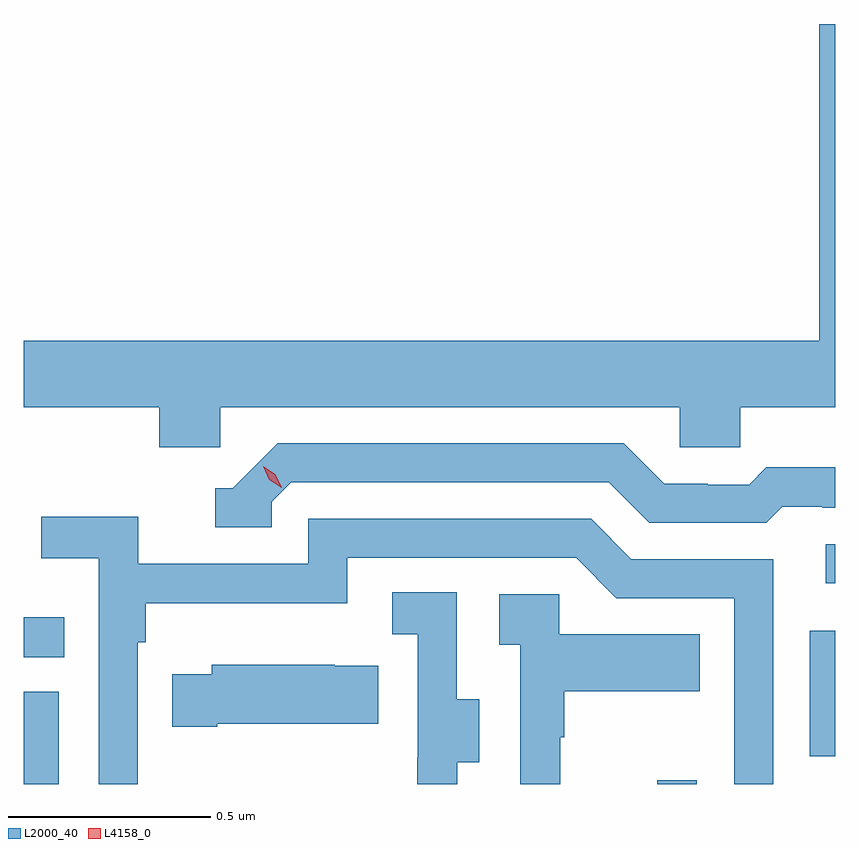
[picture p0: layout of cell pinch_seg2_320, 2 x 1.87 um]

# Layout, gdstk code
import gdstk
lib = gdstk.Library(unit=1e-6, precision=1e-09)
def R(c, l, rs):  # rectangles x0, y0, x1, y1
    for r in rs: c.add(gdstk.rectangle(r[:2], r[2:], *l))
def P(c, l, *ps):  # polygons
    for p in ps: c.add(gdstk.Polygon(p, *l))
L2000_40 = (2000, 40)
L4158_0 = (4158, 0)

pinch_seg2_320 = lib.new_cell('pinch_seg2_320')
R(pinch_seg2_320, L2000_40, [(897.349,633.388,897.436,633.615), (898.91,633.388,899.007,633.397), (899.286,633.456,899.349,633.766), (897.349,633.7,897.449,633.799), (899.325,633.882,899.349,633.978)])
P(pinch_seg2_320, L2000_40, [(897.834,634.316),(898.965,634.316),(898.965,634.218),(899.115,634.218),(899.115,634.316),(899.349,634.316),(899.349,635.26),(899.309,635.26),(899.309,634.48),(897.349,634.48),(897.349,634.316),(897.683,634.316),(897.683,634.218),(897.834,634.218)],
  [(897.96,634.083),(898.008,634.131),(898.791,634.131),(898.89,634.032),(899.179,634.032),(899.218,634.071),(899.317,634.071),(899.317,634.068),(899.349,634.068),(899.349,634.168),(899.179,634.168),(899.137,634.125),(899.034,634.125),(899.034,634.128),(898.927,634.128),(898.828,634.227),(897.975,634.227),(897.864,634.116),(897.821,634.116),(897.821,634.02),(897.96,634.02)],
  [(897.63,633.737),(897.65,633.737),(897.65,633.833),(898.146,633.833),(898.146,633.945),(898.71,633.945),(898.809,633.846),(899.1,633.846),(899.1,633.388),(899.196,633.388),(899.196,633.942),(898.846,633.942),(898.747,634.041),(898.05,634.041),(898.05,633.93),(897.632,633.93),(897.632,634.046),(897.393,634.046),(897.393,633.944),(897.534,633.944),(897.534,633.388),(897.63,633.388)],
  [(898.417,633.442),(898.471,633.442),(898.471,633.597),(898.416,633.597),(898.416,633.86),(898.257,633.86),(898.257,633.757),(898.32,633.757),(898.32,633.453),(898.319,633.453),(898.319,633.388),(898.417,633.388)],
  [(898.671,633.503),(898.681,633.503),(898.681,633.617),(899.015,633.617),(899.015,633.757),(898.668,633.757),(898.668,633.855),(898.521,633.855),(898.521,633.731),(898.572,633.731),(898.572,633.388),(898.671,633.388)],
  [(897.826,633.536),(898.223,633.536),(898.223,633.679),(898.115,633.679),(898.115,633.682),(897.813,633.682),(897.813,633.658),(897.715,633.658),(897.715,633.529),(897.826,633.529)])
P(pinch_seg2_320, L4158_0, [(897.985,634.118),(897.954,634.138),(897.939,634.171),(897.939,634.171),(897.939,634.171),(897.969,634.151),(897.985,634.118),(897.985,634.118)])

lib.write_gds('pinch_seg2_320.gds')
